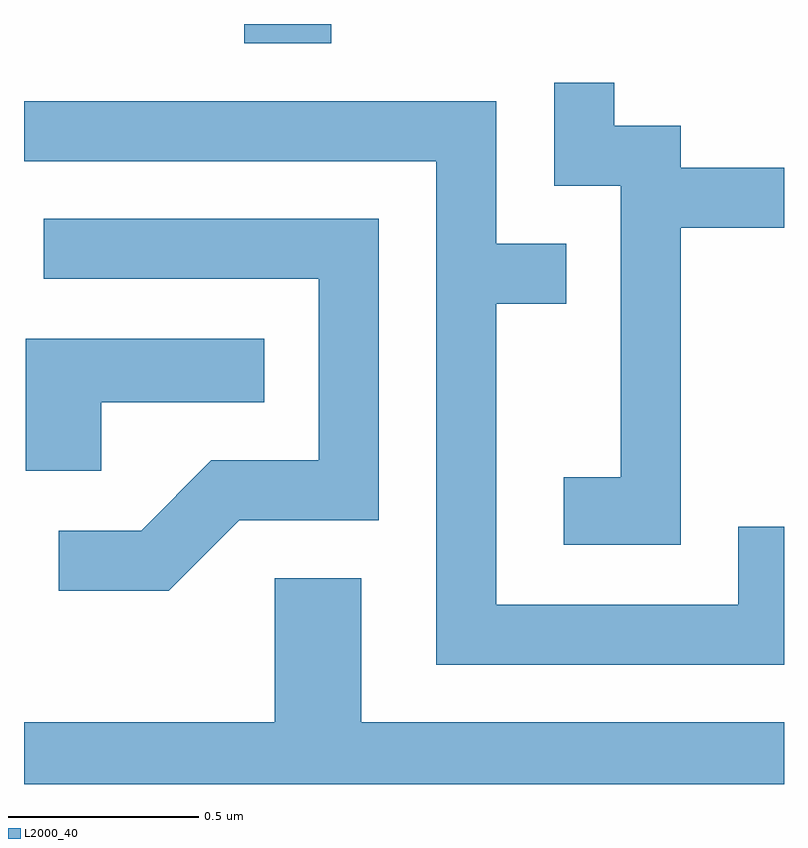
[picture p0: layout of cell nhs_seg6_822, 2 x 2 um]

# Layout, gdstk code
import gdstk
lib = gdstk.Library(unit=1e-6, precision=1e-09)
def R(c, l, rs):  # rectangles x0, y0, x1, y1
    for r in rs: c.add(gdstk.rectangle(r[:2], r[2:], *l))
def P(c, l, *ps):  # polygons
    for p in ps: c.add(gdstk.Polygon(p, *l))
L2000_40 = (2000, 40)

nhs_seg6_822 = lib.new_cell('nhs_seg6_822')
R(nhs_seg6_822, L2000_40, [(192.191,1532.111,192.419,1532.162)])
P(nhs_seg6_822, L2000_40, [(193.339,1531.626),(193.611,1531.626),(193.611,1531.784),(193.339,1531.784),(193.339,1531.894),(193.164,1531.894),(193.164,1532.008),(193.006,1532.008),(193.006,1531.736),(193.181,1531.736),(193.181,1530.969),(193.031,1530.969),(193.031,1530.791),(193.339,1530.791)],
  [(193.611,1530.839),(193.491,1530.839),(193.491,1530.634),(192.854,1530.634),(192.854,1531.426),(193.038,1531.426),(193.038,1531.584),(192.854,1531.584),(192.854,1531.959),(191.611,1531.959),(191.611,1531.801),(192.696,1531.801),(192.696,1530.476),(193.611,1530.476)],
  [(192.177,1530.856),(192.544,1530.856),(192.544,1531.649),(191.663,1531.649),(191.663,1531.491),(192.386,1531.491),(192.386,1531.014),(192.104,1531.014),(191.919,1530.829),(191.703,1530.829),(191.703,1530.671),(191.992,1530.671)],
  [(191.814,1531.166),(192.243,1531.166),(192.243,1531.334),(191.616,1531.334),(191.616,1530.986),(191.814,1530.986)],
  [(193.611,1530.324),(192.499,1530.324),(192.499,1530.704),(192.271,1530.704),(192.271,1530.324),(191.611,1530.324),(191.611,1530.162),(193.611,1530.162)])

lib.write_gds('nhs_seg6_822.gds')
